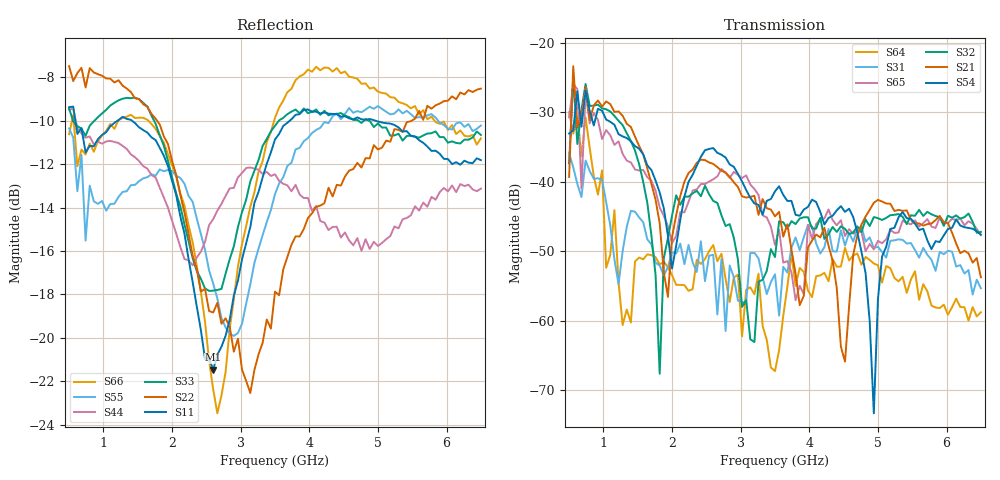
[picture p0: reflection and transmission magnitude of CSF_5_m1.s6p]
!Keysight Technologies,M9804A,MY58100912,A.14.10.03
!Date: Thursday, April 27, 2023 10:28:33
!Correction: S11(C  6-Port  )
!S12(C  6-Port  )
!S13(C  6-Port  )
!S14(C  6-Port  )
!S15(C  6-Port  )
!S16(C  6-Port  )
!S21(C  6-Port  )
!S22(C  6-Port  )
!S23(C  6-Port  )
!S24(C  6-Port  )
!S25(C  6-Port  )
!S26(C  6-Port  )
!S31(C  6-Port  )
!S32(C  6-Port  )
!S33(C  6-Port  )
!S34(C  6-Port  )
!S35(C  6-Port  )
!S36(C  6-Port  )
!S41(C  6-Port  )
!S42(C  6-Port  )
!S43(C  6-Port  )
!S44(C  6-Port  )
!S45(C  6-Port  )
!S46(C  6-Port  )
!S51(C  6-Port  )
!S52(C  6-Port  )
!S53(C  6-Port  )
!S54(C  6-Port  )
!S55(C  6-Port  )
!S56(C  6-Port  )
!S61(C  6-Port  )
!S62(C  6-Port  )
!S63(C  6-Port  )
!S64(C  6-Port  )
!S65(C  6-Port  )
!S66(C  6-Port  )
!S6P File: Measurement: :
# Hz S  RI  R 50
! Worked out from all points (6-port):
!   101 points, 500 MHz to 6.5 GHz, reference 50 ohm
!   strongest paths, dB at 500 MHz, 2 GHz, 3.5 GHz, 5 GHz, 6.5 GHz:
!     S54: -33.1, -52.5, -41.4, -56.9, -47.6
!     S21: -39.3, -48.0, -45.0, -42.6, -53.8
!     S32: -37.4, -44.9, -50.9, -45.3, -47.2
!     S65: -30.8, -48.8, -49.1, -48.5, -47.7
!     S31: -35.9, -50.1, -53.3, -49.4, -55.3
!     S64: -30.0, -53.5, -67.3, -52.0, -58.8
!   lowest |S11| = -21.5 dB at 2.6 GHz (marker M1), VSWR 1.18, Z = 42.5 + j2.17 ohm
!   |S11| at or under -10 dB: 591.4 MHz to 1.203 GHz (611.4 MHz wide, 68.2 % of centre); 1.419 GHz to 3.712 GHz (2.293 GHz wide, 89.4 % of centre); 4.973 GHz to end of sweep
